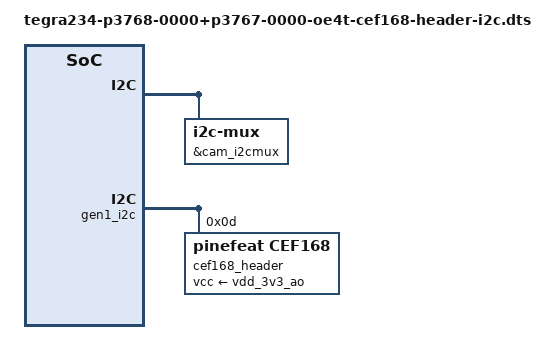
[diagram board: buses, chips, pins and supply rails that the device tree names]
// SPDX-License-Identifier: GPL-2.0-only
// Overlay enabling the CEF168 lens controller on the 40-pin header I2C bus.
// Jetson Nano 40-pin header pinout for this overlay:
//   Pin 1  (3V3)  -> CEF168 VCC (red)
//   Pin 6  (GND)  -> CEF168 GND (black)
//   Pin 3  (I2C1 SDA / gen1_i2c_sda_pi4) -> CEF168 SDA (yellow)
//   Pin 5  (I2C1 SCL / gen1_i2c_scl_pi3) -> CEF168 SCL (green)

/dts-v1/;
/plugin/;

#include <dt-bindings/pinctrl/pinctrl-tegra.h>
#include <dt-bindings/tegra234-p3767-0000-common.h>

/ {
    overlay-name = "CEF168 on 40-pin header";
    compatible = JETSON_COMPATIBLE_P3768;
};

&cam_i2cmux {
    i2c@0 {
        cef168@d {
            status = "disabled";
        };
    };
};

&pinctrl {
    cef168_ext_i2c1_pins: cef168-ext-i2c1-pins {
        nvidia,pins = "gen1_i2c_sda_pi4", "gen1_i2c_scl_pi3";
        nvidia,function = "i2c1";
        nvidia,tristate = <TEGRA_PIN_DISABLE>;
        nvidia,enable-input = <TEGRA_PIN_ENABLE>;
        nvidia,pull = <TEGRA_PIN_PULL_UP>;
    };
};

&gen1_i2c {
    status = "okay";
    #address-cells = <1>;
    #size-cells = <0>;
    pinctrl-names = "default";
    pinctrl-0 = <&cef168_ext_i2c1_pins>;

    cef168_header@0d {
        compatible = "pinefeat,cef168";
        reg = <0x0d>;
        vcc-supply = <&vdd_3v3_ao>;
        status = "okay";
    };
};
